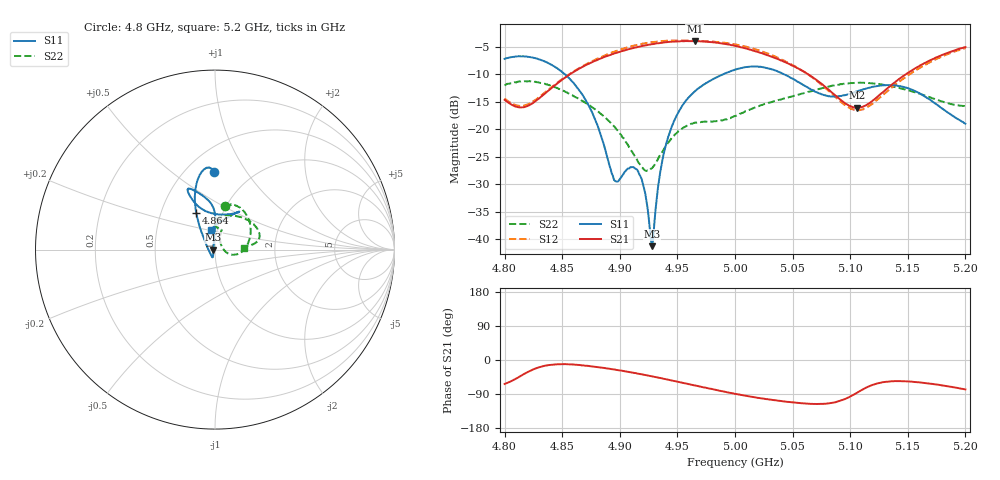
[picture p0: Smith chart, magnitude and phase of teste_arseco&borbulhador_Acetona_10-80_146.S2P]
! Network Analyzer HP8722D
! Hewlett-Packard
! Data name: Linha & Wilkinson
! Saver's name: Rodrigo Anjos
! Comments: Teste da utilização de aquisição
! continua pelo VNA HP8722D
! Time and date: 25/4/2025 16:29
!  Frequency  S11  S21  S12  S22
# HZ  S  MA R 50
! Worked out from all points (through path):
!   401 points, 4.8 GHz to 5.2 GHz, reference 50 ohm
!   highest |S21| = -3.98 dB at 4.965 GHz (marker M1); lowest = -16.1 dB at 5.106 GHz (marker M2)
!   lowest |S11| = -41.3 dB at 4.928 GHz (marker M3), VSWR 1.02, Z = 49.1 + j0.0342 ohm
!   |S11| at or under -10 dB: 4.852 GHz to 4.99 GHz (138.1 MHz wide, 2.81 % of centre); 5.042 GHz to end of sweep
!   |S22| runs from -27.6 to -11.3 dB; largest |S21 - S12| = 1.2
!   S11 on the Smith chart (normalised r, x): 4.8 GHz: 0.68, +0.72; 4.864 GHz: 0.75, +0.33; 5.2 GHz: 0.94, +0.21
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4.8e9  0.4344 90.6  0.1843 -63.2  0.1894 70.2  0.2489 77.1
4.82e9  0.4538 96.9  0.1622 -31.8  0.1676 99.0  0.2712 61.5
4.844e9  0.3662 106.9  0.2522 -11.5  0.2551 119.2  0.2392 35.2
4.864e9  0.2316 116.9  0.3507 -12.9  0.3544 120.9  0.1889 11.9
4.867e9  0.2089 118.6  0.365 -14.2  0.3697 120.5  0.1813 8.2
4.88e9  0.112 129.1  0.4225 -18.5  0.434 118.1  0.1473 -5.5
4.896e9  0.03374 -166.0  0.4893 -25.3  0.5083 113.0  0.1034 -16.0
4.909e9  0.04489 -110.1  0.5363 -32.1  0.5615 107.2  0.06648 -13.6
4.917e9  0.03866 -106.1  0.561 -36.8  0.5899 103.2  0.04851 0.1
4.921e9  0.02908 -110.6  0.5746 -38.9  0.5999 101.2  0.04273 12.5
4.928e9  0.008616 177.7  0.5918 -43.2  0.617 96.9  0.04407 42.1
4.934e9  0.03415 101.7  0.6026 -46.9  0.628 92.9  0.05593 58.4
4.939e9  0.06499 94.5  0.6136 -50.0  0.6346 89.7  0.06766 65.6
4.946e9  0.1108 90.5  0.6229 -54.6  0.6381 85.4  0.08521 70.0
4.965e9  0.2196 91.1  0.6323 -67.2  0.6366 73.2  0.1143 71.3
5e9  0.3467 109.1  0.5717 -89.3  0.5896 50.6  0.1313 88.3
5.03e9  0.3541 115.1  0.4616 -104.4  0.4789 33.7  0.1736 85.2
5.067e9  0.2271 105.1  0.2981 -115.8  0.2953 23.7  0.2222 56.8
5.106e9  0.2203 64.9  0.156 -86.3  0.1482 56.8  0.2633 24.5
5.134e9  0.2509 57.4  0.2422 -56.5  0.2286 88.8  0.2473 12.1
5.168e9  0.1886 69.6  0.4149 -61.8  0.3984 85.0  0.196 6.9
5.2e9  0.1118 101.0  0.5557 -77.8  0.5464 70.0  0.1615 3.7
